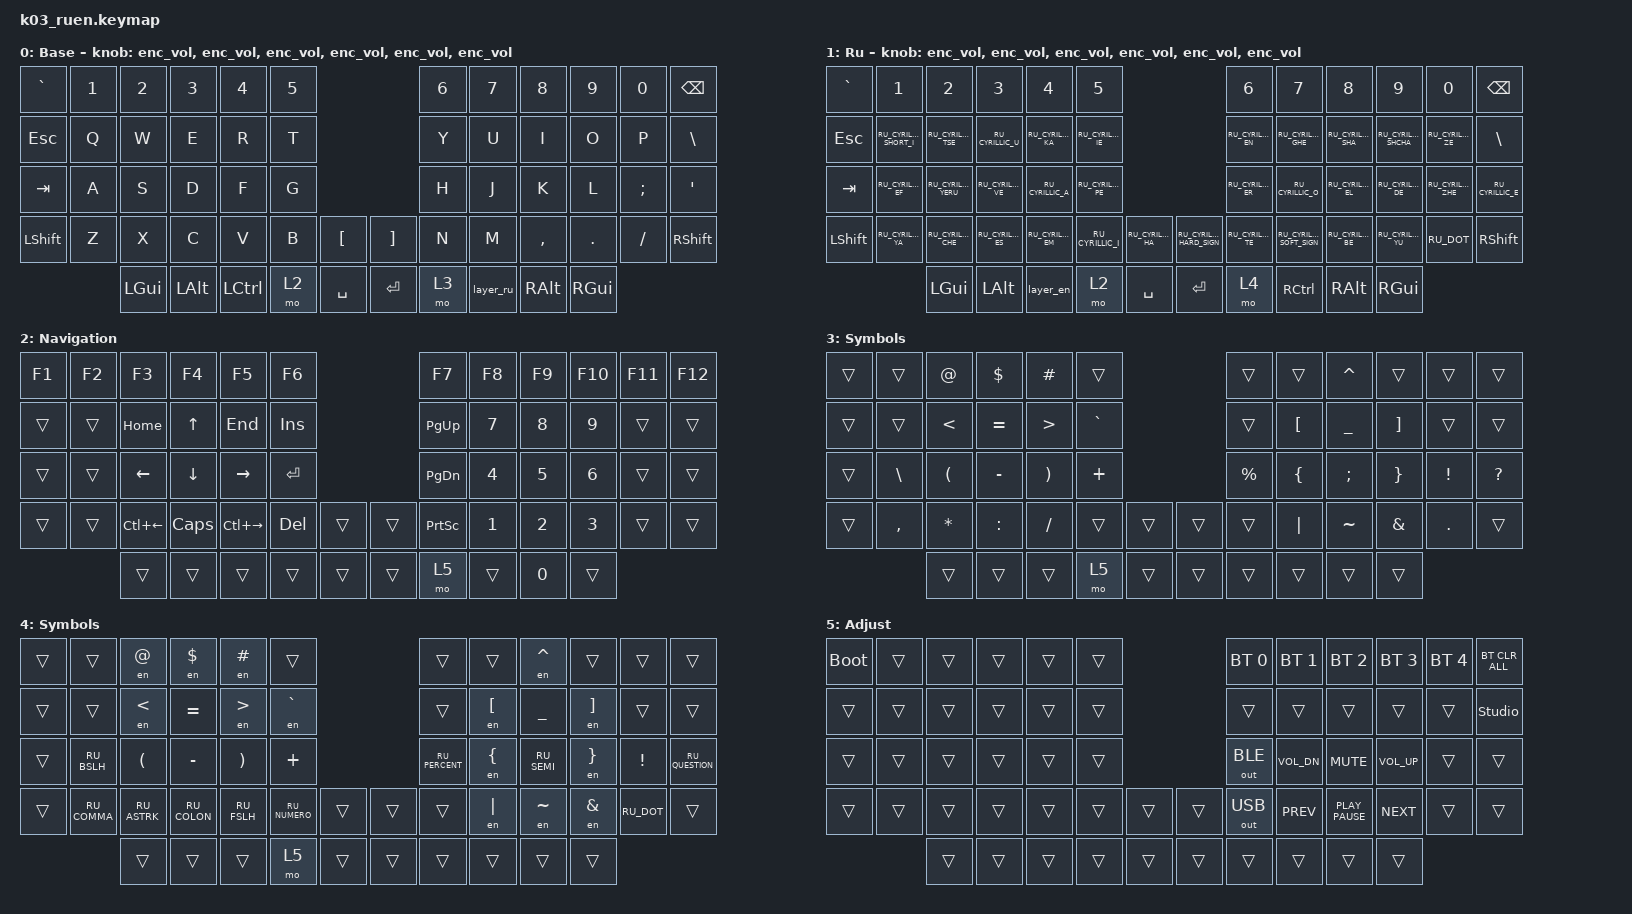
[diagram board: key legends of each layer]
#include "keys_ru.h"
#include <behaviors.dtsi>
#include <dt-bindings/zmk/bt.h>
#include <dt-bindings/zmk/keys.h>
#include <dt-bindings/zmk/outputs.h>

/ {
    behaviors {
        enc_vol: enc_vol {
            compatible = "zmk,behavior-sensor-rotate";
            label = "ENC_VOL";
            #sensor-binding-cells = <0>;
            bindings = <&kp C_VOL_UP>, <&kp C_VOL_DN>;
        };
    };

    combos {
        compatible = "zmk,combos";

        cmben {
            bindings = <&layer_en>;
            key-positions = <15 16>;
            layers = <1>;
        };

        cmbru {
            bindings = <&layer_ru>;
            key-positions = <15 16>;
            layers = <0>;
        };
    };

    macros {
        to_ru: to_ru {
            compatible = "zmk,behavior-macro";
            #binding-cells = <0>;
            bindings = <&kp LS(LC(N2))>;
            label = "TO_RU";
            wait-ms = <0>;
            tap-ms = <30>;
        };

        to_en: to_en {
            compatible = "zmk,behavior-macro";
            #binding-cells = <0>;
            bindings = <&kp LS(LC(N1))>;
            label = "TO_EN";
            wait-ms = <0>;
            tap-ms = <30>;
        };

        layer_en: layer_en {
            compatible = "zmk,behavior-macro";
            #binding-cells = <0>;
            bindings = <&to 0 &toen>;
            label = "LAYER_EN";
            wait-ms = <0>;
            tap-ms = <30>;
        };

        layer_ru: layer_ru {
            compatible = "zmk,behavior-macro";
            #binding-cells = <0>;
            bindings = <&to 1 &toru>;
            label = "LAYER_RU";
            tap-ms = <30>;
            wait-ms = <0>;
        };

        en: en {
            compatible = "zmk,behavior-macro-one-param";
            #binding-cells = <1>;
            bindings =
                <&to_en>,
                <&macro_press>,
                <&macro_param_1to1 &kp MACRO_PLACEHOLDER>,
                <&macro_pause_for_release>,
                <&macro_release>,
                <&macro_param_1to1 &kp MACRO_PLACEHOLDER>,
                <&macro_tap>,
                <&to_ru>;

            label = "EN";
            wait-ms = <0>;
            tap-ms = <30>;
        };

        toru: toru {
            compatible = "zmk,behavior-macro";
            #binding-cells = <0>;
            bindings = <&kp LS(CAPS)>;
            label = "TORU";
            wait-ms = <0>;
            tap-ms = <30>;
        };

        toen: toen {
            compatible = "zmk,behavior-macro";
            #binding-cells = <0>;
            bindings = <&kp CAPSLOCK>;
            label = "TOEN";
            wait-ms = <0>;
            tap-ms = <30>;
        };
    };

    keymap {
        compatible = "zmk,keymap";

        en {
            bindings = <
&kp GRAVE  &kp N1  &kp N2    &kp N3    &kp N4     &kp N5                          &kp N6  &kp N7     &kp N8     &kp N9    &kp N0    &kp BSPC
&kp ESC    &kp Q   &kp W     &kp E     &kp R      &kp T                           &kp Y   &kp U      &kp I      &kp O     &kp P     &kp BSLH
&kp TAB    &kp A   &kp S     &kp D     &kp F      &kp G                           &kp H   &kp J      &kp K      &kp L     &kp SEMI  &kp SQT
&kp LSHFT  &kp Z   &kp X     &kp C     &kp V      &kp B   &kp LBKT     &kp RBKT   &kp N   &kp M      &kp COMMA  &kp DOT   &kp FSLH  &kp RSHFT
                   &kp LGUI  &kp LALT  &kp LCTRL  &mo 2   &kp SPACE    &kp ENTER  &mo 3   &layer_ru  &kp RALT   &kp RGUI
            >;

            display-name = "Base";
            sensor-bindings =
                <&enc_vol>,
                <&enc_vol>,
                <&enc_vol>,
                <&enc_vol>,
                <&enc_vol>,
                <&enc_vol>;
        };

        ru {
            display-name = "Ru";
            bindings = <
&kp GRAVE  &kp N1                   &kp N2                &kp N3              &kp N4              &kp N5                                                               &kp N6              &kp N7                     &kp N8               &kp N9                 &kp N0               &kp BSPC
&kp ESC    &kp RU_CYRILLIC_SHORT_I  &kp RU_CYRILLIC_TSE   &kp RU_CYRILLIC_U   &kp RU_CYRILLIC_KA  &kp RU_CYRILLIC_IE                                                   &kp RU_CYRILLIC_EN  &kp RU_CYRILLIC_GHE        &kp RU_CYRILLIC_SHA  &kp RU_CYRILLIC_SHCHA  &kp RU_CYRILLIC_ZE   &kp BSLH
&kp TAB    &kp RU_CYRILLIC_EF       &kp RU_CYRILLIC_YERU  &kp RU_CYRILLIC_VE  &kp RU_CYRILLIC_A   &kp RU_CYRILLIC_PE                                                   &kp RU_CYRILLIC_ER  &kp RU_CYRILLIC_O          &kp RU_CYRILLIC_EL   &kp RU_CYRILLIC_DE     &kp RU_CYRILLIC_ZHE  &kp RU_CYRILLIC_E
&kp LSHFT  &kp RU_CYRILLIC_YA       &kp RU_CYRILLIC_CHE   &kp RU_CYRILLIC_ES  &kp RU_CYRILLIC_EM  &kp RU_CYRILLIC_I   &kp RU_CYRILLIC_HA    &kp RU_CYRILLIC_HARD_SIGN  &kp RU_CYRILLIC_TE  &kp RU_CYRILLIC_SOFT_SIGN  &kp RU_CYRILLIC_BE   &kp RU_CYRILLIC_YU     &kp RU_DOT           &kp RSHFT
                                    &kp LGUI              &kp LALT            &layer_en           &mo 2               &kp SPACE             &kp ENTER                  &mo 4               &kp RCTRL                  &kp RALT             &kp RGUI
            >;

            sensor-bindings =
                <&enc_vol>,
                <&enc_vol>,
                <&enc_vol>,
                <&enc_vol>,
                <&enc_vol>,
                <&enc_vol>;
        };

        nav {
            bindings = <
&kp F1  &kp F2  &kp F3        &kp F4    &kp F5         &kp F6                     &kp F7           &kp F8  &kp F9  &kp F10  &kp F11  &kp F12
&trans  &trans  &kp HOME      &kp UP    &kp END        &kp INS                    &kp PG_UP        &kp N7  &kp N8  &kp N9   &trans   &trans
&trans  &trans  &kp LEFT      &kp DOWN  &kp RIGHT      &kp RET                    &kp PG_DN        &kp N4  &kp N5  &kp N6   &trans   &trans
&trans  &trans  &kp LC(LEFT)  &kp CAPS  &kp LC(RIGHT)  &kp DEL  &trans    &trans  &kp PRINTSCREEN  &kp N1  &kp N2  &kp N3   &trans   &trans
                &trans        &trans    &trans         &trans   &trans    &trans  &mo 5            &trans  &kp N0  &trans
            >;

            display-name = "Navigation";
        };

        sym_en {
            bindings = <
&trans  &trans     &kp AT    &kp DLLR   &kp HASH  &trans                       &trans     &trans    &kp CARET  &trans    &trans    &trans
&trans  &trans     &kp LT    &kp EQUAL  &kp GT    &kp GRAVE                    &trans     &kp LBKT  &kp UNDER  &kp RBKT  &trans    &trans
&trans  &kp BSLH   &kp LPAR  &kp MINUS  &kp RPAR  &kp PLUS                     &kp PRCNT  &kp LBRC  &kp SEMI   &kp RBRC  &kp EXCL  &kp QUESTION
&trans  &kp COMMA  &kp STAR  &kp COLON  &kp FSLH  &trans     &trans    &trans  &trans     &kp PIPE  &kp TILDE  &kp AMPS  &kp DOT   &trans
                   &trans    &trans     &trans    &mo 5      &trans    &trans  &trans     &trans    &trans     &trans
            >;

            display-name = "Symbols";
        };

        sym_ru {
            display-name = "Symbols";
            bindings = <
&trans  &trans        &en AT        &en DLLR      &en HASH     &trans                           &trans          &trans    &en CARET    &trans    &trans      &trans
&trans  &trans        &en LT        &kp EQUAL     &en GT       &en GRAVE                        &trans          &en LBKT  &kp UNDER    &en RBKT  &trans      &trans
&trans  &kp RU_BSLH   &kp LPAR      &kp MINUS     &kp RPAR     &kp PLUS                         &kp RU_PERCENT  &en LBRC  &kp RU_SEMI  &en RBRC  &kp EXCL    &kp RU_QUESTION
&trans  &kp RU_COMMA  &kp RU_ASTRK  &kp RU_COLON  &kp RU_FSLH  &kp RU_NUMERO  &trans    &trans  &trans          &en PIPE  &en TILDE    &en AMPS  &kp RU_DOT  &trans
                      &trans        &trans        &trans       &mo 5          &trans    &trans  &trans          &trans    &trans       &trans
            >;
        };

        adj {
            bindings = <
&bootloader  &trans  &trans  &trans  &trans  &trans                    &bt BT_SEL 0  &bt BT_SEL 1  &bt BT_SEL 2      &bt BT_SEL 3  &bt BT_SEL 4  &bt BT_CLR_ALL
&trans       &trans  &trans  &trans  &trans  &trans                    &trans        &trans        &trans            &trans        &trans        &studio_unlock
&trans       &trans  &trans  &trans  &trans  &trans                    &out OUT_BLE  &kp C_VOL_DN  &kp K_MUTE        &kp C_VOL_UP  &trans        &trans
&trans       &trans  &trans  &trans  &trans  &trans  &trans    &trans  &out OUT_USB  &kp K_PREV    &kp K_PLAY_PAUSE  &kp K_NEXT    &trans        &trans
                     &trans  &trans  &trans  &trans  &trans    &trans  &trans        &trans        &trans            &trans
            >;

            display-name = "Adjust";
        };
    };
};
